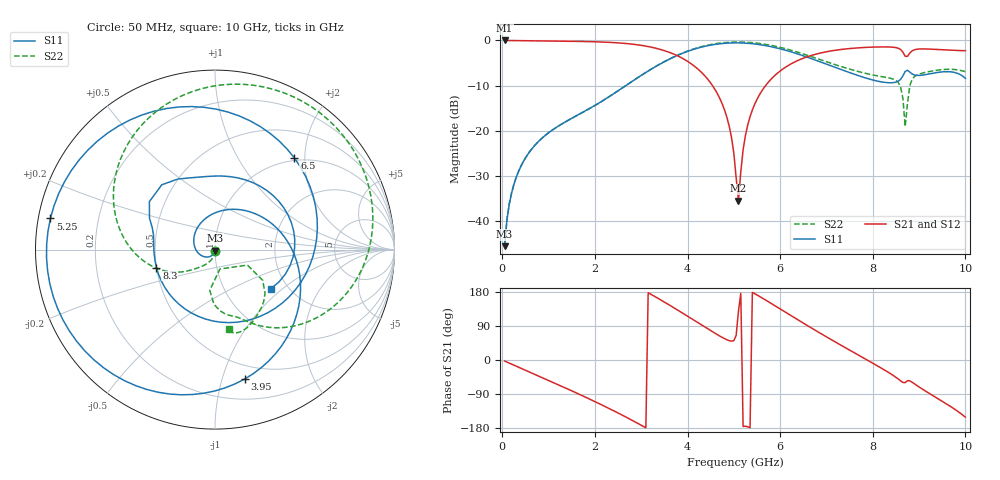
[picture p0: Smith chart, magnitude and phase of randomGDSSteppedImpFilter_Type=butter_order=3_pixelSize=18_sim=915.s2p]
! freq	dB(S11)	phase(S11)	dB(S12)	phase(S12)
!  dB(S21)	phase(S21)	dB(S22)	phase(S22)
!S-par simulation data
#  GHz  S  DB  R 50
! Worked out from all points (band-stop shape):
!   200 points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, 50 MHz to 10 GHz, reference 50 ohm
!   highest |S21| = -0.01 dB at 50 MHz (marker M1); lowest = -35.5 dB at 5.1 GHz (marker M2)
!   |S21| within 3 dB of the highest: start of sweep to 3.697 GHz; 6.786 GHz to 8.673 GHz (1.887 GHz wide, 24.4 % of centre) (the widest 2 of 3)
!   lowest |S11| = -45.6 dB at 50 MHz (marker M3), VSWR 1.01, Z = 50 - j0.526 ohm
!   |S11| at or under -10 dB: start of sweep to 2.668 GHz
!   |S22| runs from -45.5 to -0.4 dB; largest |S21 - S12| = 0
!   S11 on the Smith chart (normalised r, x): 50 MHz: 1.00, -0.01; 3.95 GHz: 0.37, -1.18; 5.25 GHz: 0.03, +0.09; 6.5 GHz: 0.95, +1.78; 8.3 GHz: 0.50, -0.11; 10 GHz: 1.65, -0.83
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0.05  -45.58 -90.6  -0.01 -2.7  -0.01 -2.7  -45.52 -88.9
0.2  -33.83 -104.2  -0.02 -10.8  -0.02 -10.8  -33.79 -95.8
0.5  -26.05 -127.9  -0.05 -26.9  -0.05 -26.9  -26.00 -106.6
1.75  -15.86 124.3  -0.23 -95.4  -0.23 -95.4  -15.87 -137.2
2.7  -9.78 32.8  -0.71 -152.5  -0.71 -152.5  -9.77 -159.9
3.4  -5.27 -29.6  -1.95 160.1  -1.95 160.1  -5.23 167.2
3.95  -2.61 -77.2  -4.31 119.4  -4.31 119.4  -2.54 132.9
4.75  -0.68 -146.5  -14.08 59.5  -14.08 59.5  -0.53 76.8
5.05  -0.54 -172.9  -30.42 65.3  -30.42 65.3  -0.35 55.8
5.1  -0.54 -177.3  -35.50 129.1  -35.50 129.1  -0.35 52.4
5.25  -0.60 169.3  -21.06 -174.7  -21.06 -174.7  -0.39 42.1
5.9  -1.60 109.1  -7.62 142.3  -7.62 142.3  -1.29 1.1
6.5  -3.41 49.1  -3.94 97.3  -3.94 97.3  -2.99 -29.6
6.7  -4.13 28.1  -3.25 82.7  -3.25 82.7  -3.67 -37.9
7.5  -7.13 -61.5  -1.80 26.1  -1.80 26.1  -6.36 -60.9
8.3  -9.34 -162.9  -1.44 -29.8  -1.44 -29.8  -8.21 -73.7
8.35  -9.37 -169.5  -1.45 -33.6  -1.45 -33.6  -8.31 -74.9
8.6  -8.63 160.7  -1.99 -54.9  -1.99 -54.9  -10.30 -91.0
8.7  -6.88 143.8  -3.51 -59.5  -3.51 -59.5  -19.06 -75.9
8.9  -7.66 103.2  -2.07 -63.0  -2.07 -63.0  -8.02 -47.0
9.55  -6.93 25.5  -2.11 -112.5  -2.11 -112.5  -6.42 -71.5
10  -8.40 -34.8  -2.27 -150.8  -2.27 -150.8  -6.92 -80.3
